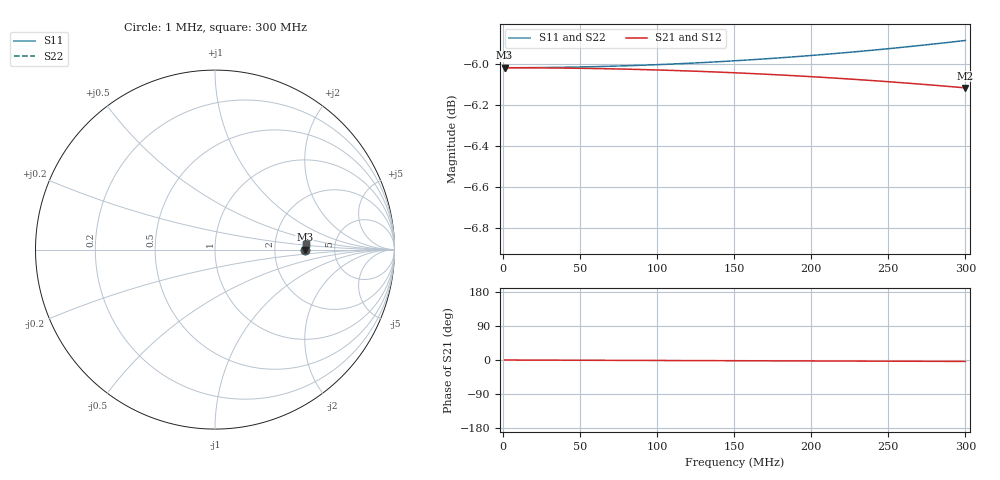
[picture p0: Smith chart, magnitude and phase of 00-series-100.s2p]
! vna-fence の例のための**計算した値** (実測ではない)。scripts/fakeData.mjs が書く
! 100 Ω に、リードの直列 10 nH と足の間の 0.3 pF を足した模型
# HZ S RI R 50
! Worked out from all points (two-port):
!   101 points, 1 MHz to 300 MHz, reference 50 ohm
!   highest |S21| = -6.02 dB at 1 MHz (marker M1); lowest = -6.1 dB at 300 MHz (marker M2)
!   |S21| within 3 dB of the highest: start of sweep to end of sweep
!   lowest |S11| = -6.0 dB at 1 MHz (marker M3), VSWR 3.00, Z = 150 + j0.044 ohm
!   |S11| at or under -10 dB: nowhere
!   |S22| runs from -6.0 to -5.9 dB; largest |S21 - S12| = 0
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1000000  0.5 0.00011  0.5 -0.00011  0.5 -0.00011  0.5 0.00011
2.492e7  0.5 0.00274  0.5 -0.00274  0.5 -0.00274  0.5 0.00274
3.987e7  0.5001 0.00438  0.4999 -0.00438  0.4999 -0.00438  0.5001 0.00438
5.183e7  0.5002 0.0057  0.4998 -0.0057  0.4998 -0.0057  0.5002 0.0057
6.379e7  0.5003 0.00701  0.4997 -0.00701  0.4997 -0.00701  0.5003 0.00701
7.575e7  0.5004 0.00832  0.4996 -0.00832  0.4996 -0.00832  0.5004 0.00832
8.771e7  0.5006 0.00963  0.4994 -0.00963  0.4994 -0.00963  0.5006 0.00963
1.0266e8  0.5008 0.0113  0.4992 -0.0113  0.4992 -0.0113  0.5008 0.0113
1.1462e8  0.501 0.0126  0.499 -0.0126  0.499 -0.0126  0.501 0.0126
1.2957e8  0.5012 0.0142  0.4988 -0.0142  0.4988 -0.0142  0.5012 0.0142
1.505e8  0.5017 0.0165  0.4983 -0.0165  0.4983 -0.0165  0.5017 0.0165
1.6246e8  0.502 0.0178  0.498 -0.0178  0.498 -0.0178  0.502 0.0178
1.7741e8  0.5023 0.0194  0.4977 -0.0194  0.4977 -0.0194  0.5023 0.0194
1.8937e8  0.5027 0.0207  0.4973 -0.0207  0.4973 -0.0207  0.5027 0.0207
2.0133e8  0.503 0.0219  0.497 -0.0219  0.497 -0.0219  0.503 0.0219
2.1628e8  0.5035 0.0235  0.4965 -0.0235  0.4965 -0.0235  0.5035 0.0235
2.2824e8  0.5039 0.0248  0.4961 -0.0248  0.4961 -0.0248  0.5039 0.0248
2.402e8  0.5043 0.0261  0.4957 -0.0261  0.4957 -0.0261  0.5043 0.0261
2.5216e8  0.5047 0.0273  0.4953 -0.0273  0.4953 -0.0273  0.5047 0.0273
2.7608e8  0.5056 0.0299  0.4944 -0.0299  0.4944 -0.0299  0.5056 0.0299
2.8804e8  0.5061 0.0311  0.4939 -0.0311  0.4939 -0.0311  0.5061 0.0311
3e8  0.5067 0.0323  0.4933 -0.0323  0.4933 -0.0323  0.5067 0.0323
